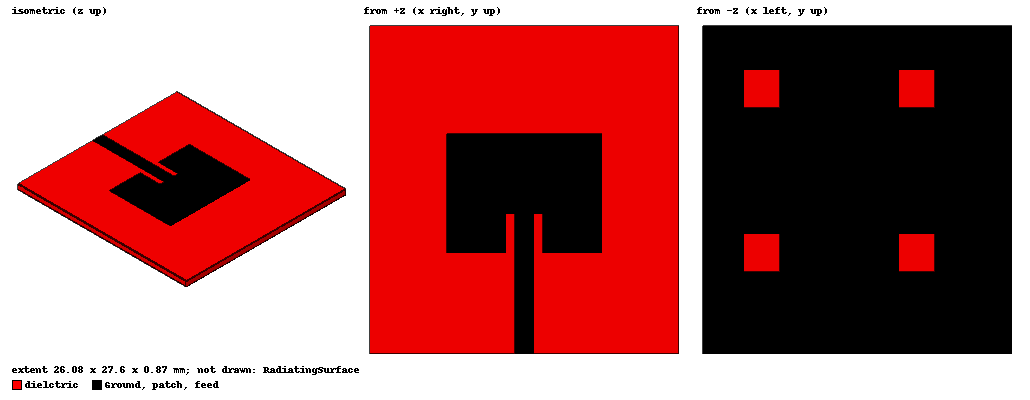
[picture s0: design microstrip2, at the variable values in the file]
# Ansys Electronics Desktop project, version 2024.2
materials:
  vacuum: permittivity=1
  copper: permeability=0.999991 conductivity=58000000
  FR4_epoxy: permittivity=4.4 dielectric_loss_tangent=0.02

design microstrip2 (HFSS, HFSS Modal Network, model units mm)
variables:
  T_diel = 0.8mm
  L = 9.99mm
  W = 13.04mm
  T = 0.035mm
  L_feed = 11.74mm
  W_feed = 1.53mm
  W_g = 2*W
  L_g = 1.5*L_feed+L
  T_g = T
  partial = 0.35
  L_offset = partial*L/2
  W_slot = 2*W_feed
  L_slot = L/2-L_offset
  G_slot_L = 3.2mm
  G_slot_W = 3mm
  G_slot_T = T_g
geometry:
  Ground [copper] = box(corner=(-W_g/2, 0mm, 0mm), size=(W_g, L_g, T_g))
  coordinate_system diel_bottom = origin=(0mm, 0mm, T_g) x=(1mm, 0mm, 0mm) y=(0mm, 1mm, 0mm)
  dielctric [FR4_epoxy] = box(corner=(-W_g/2, 0mm, 0mm), size=(W_g, L_g, T_diel)) in diel_bottom
  coordinate_system diel_top = origin=(0mm, 0mm, T_diel) x=(1mm, 0mm, 0mm) y=(0mm, 1mm, 0mm) in diel_bottom
  feed [copper] = box(corner=(-W_feed/2, 0mm, 0mm), size=(W_feed, L_feed, T)) in diel_top
  coordinate_system feed_point = origin=(0mm, L_feed, 0mm) x=(1mm, 0mm, 0mm) y=(0mm, 1mm, 0mm) in diel_top
  coordinate_system antenna_start = origin=(0, -L_slot, 0) x=(1mm, 0mm, 0mm) y=(0mm, 1mm, 0mm) in feed_point
  Box1 = box(corner=(-W_slot/2, 0mm, 0mm), size=(W_slot, L_slot, T)) in antenna_start
  patch [copper] = box(corner=(-W /2, 0, 0mm), size=(W, L, T)) in antenna_start
  patch.subtract(Box1)
  Rectangle1 = rectangle(corner=(-W_feed/2, 0mm, 0mm), z_size=T_g+T+T_diel, x_size=W_feed)
  coordinate_system G_slot = origin=(-W_g/4, L_g/4, 0mm) x=(1mm, 0mm, 0mm) y=(0mm, 1mm, 0mm)
  Box2 = box(corner=(0mm, 0mm, 0mm), size=(G_slot_W, G_slot_L, G_slot_T)) in G_slot
  Ground.subtract(Box2)
  coordinate_system G_slot2 = origin=(0mm, L_g/2, 0mm) x=(1mm, 0mm, 0mm) y=(0mm, 1mm, 0mm) in G_slot
  Box3 = box(corner=(0mm, 0mm, 0mm), size=(G_slot_W, G_slot_L, G_slot_T)) in G_slot2
  Ground.subtract(Box3)
  coordinate_system G_slot3 = origin=(W_g/2, 0mm, 0mm) x=(1mm, 0mm, 0mm) y=(0mm, 1mm, 0mm) in G_slot2
  Box4 = box(corner=(0mm, 0mm, 0mm), size=(G_slot_W, G_slot_L, G_slot_T)) in G_slot3
  coordinate_system G_slot4 = origin=(W_g/2, 0mm, 0mm) x=(1mm, 0mm, 0mm) y=(0mm, 1mm, 0mm) in G_slot
  Box5 = box(corner=(0mm, 0mm, 0mm), size=(G_slot_W, G_slot_L, G_slot_T)) in G_slot4
  Ground.subtract(Box4, Box5)
  coordinate_system G_mid = origin=(0mm, L_g/2, 0mm) x=(1mm, 0mm, 0mm) y=(0mm, 1mm, 0mm)
  Box6 = box(corner=(0mm, 0mm, 0mm), size=(G_slot_W, G_slot_L, G_slot_T)) in G_mid
  Ground.subtract(Box6)
  Box7 = box(corner=(0mm, 0mm, 0mm), size=(G_slot_W, G_slot_L, G_slot_T)) in G_mid
  Ground.unite(Box7)
  RadiatingSurface [vacuum] = region(absolute_offset=14.285714mm on all sides) in G_mid
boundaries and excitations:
  Open1: Radiation Objects=RadiatingSurface
  1: Lumped Port Objects=Rectangle1 LumpedPortType=Modal Modes{Mode1{IntLine{(0, 0, 0) -> (0, 0, 0.87)} CharImp=Zpi RenormImp=50ohm}} Impedance=50ohm
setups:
  Setup1: HfssDriven MultipleAdaptiveFreqsSetup{Low=4GHz High=8GHz} MaxDeltaS=0.02 MaximumPasses=12 MinimumPasses=1 MinimumConvergedPasses=1 PercentRefinement=30 BasisOrder=1 PortAccuracy=2 DrivenSolverType="Direct Solver"
    sweep Sweep: 4GHz to 8GHz, 401 points; Type=Interpolating InterpTolerance=0.5 InterpMaxSolns=250 InterpUsePortImped=false PassivityErrorTolerance=0.0001
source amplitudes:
  1:1: 1V 0deg
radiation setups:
  3D: Infinite Sphere Theta=0deg..180deg step 2deg Phi=-180deg..180deg step 2deg CoordSystem=G_mid
  Elevation: Infinite Sphere Theta=-180deg..180deg step 1deg Phi=0deg..90deg step 90deg CoordSystem=G_mid
  Azimuth: Infinite Sphere Theta=90deg..90deg step 0deg Phi=-180deg..180deg step 1deg CoordSystem=G_mid
